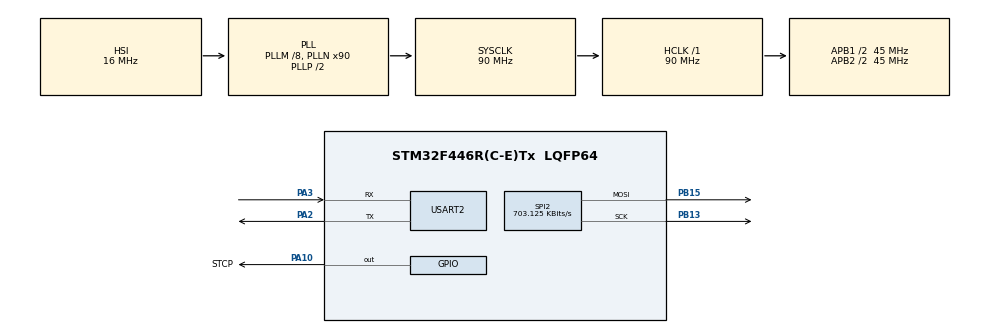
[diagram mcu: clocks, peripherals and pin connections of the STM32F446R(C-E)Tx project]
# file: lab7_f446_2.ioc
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Mcu.Family=STM32F4
Mcu.Name=STM32F446R(C-E)Tx
Mcu.Package=LQFP64
NVIC.PriorityGroup=NVIC_PRIORITYGROUP_4
NVIC.TIM3_IRQn=true\:0\:0\:false\:false\:true\:true\:true\:true
NVIC.USART2_IRQn=true\:0\:0\:false\:false\:true\:true\:true\:true
PA10.GPIO_Label=STCP
PA10.Signal=GPIO_Output
PA13.Mode=Serial_Wire
PA13.Signal=SYS_JTMS-SWDIO
PA14.Mode=Serial_Wire
PA14.Signal=SYS_JTCK-SWCLK
PA2.Mode=Asynchronous
PA2.Signal=USART2_TX
PA3.Mode=Asynchronous
PA3.Signal=USART2_RX
PB13.Mode=TX_Only_Simplex_Unidirect_Master
PB13.Signal=SPI2_SCK
PB15.Mode=TX_Only_Simplex_Unidirect_Master
PB15.Signal=SPI2_MOSI
PC14-OSC32_IN.Mode=LSE-External-Oscillator
PC14-OSC32_IN.Signal=RCC_OSC32_IN
PC15-OSC32_OUT.Mode=LSE-External-Oscillator
PC15-OSC32_OUT.Signal=RCC_OSC32_OUT
PH0-OSC_IN.Mode=HSE-External-Oscillator
PH0-OSC_IN.Signal=RCC_OSC_IN
PH1-OSC_OUT.Mode=HSE-External-Oscillator
PH1-OSC_OUT.Signal=RCC_OSC_OUT
ProjectManager.HeapSize=0x200
ProjectManager.StackSize=0x400
ProjectManager.TargetToolchain=STM32CubeIDE
RCC.AHBFreq_Value=90000000
RCC.APB1CLKDivider=RCC_HCLK_DIV2
RCC.APB1Freq_Value=45000000
RCC.APB1TimFreq_Value=90000000
RCC.APB2CLKDivider=RCC_HCLK_DIV2
RCC.APB2Freq_Value=45000000
RCC.APB2TimFreq_Value=90000000
RCC.CortexFreq_Value=90000000
RCC.HCLKFreq_Value=90000000
RCC.PLLM=8
RCC.PLLN=90
RCC.SYSCLKFreq_VALUE=90000000
RCC.SYSCLKSource=RCC_SYSCLKSOURCE_PLLCLK
RCC.USBFreq_Value=90000000
RCC.VCOOutputFreq_Value=180000000
SPI2.BaudRatePrescaler=SPI_BAUDRATEPRESCALER_64
SPI2.CalculateBaudRate=703.125 KBits/s
SPI2.DataSize=SPI_DATASIZE_8BIT
SPI2.Direction=SPI_DIRECTION_2LINES
SPI2.FirstBit=SPI_FIRSTBIT_LSB
SPI2.Mode=SPI_MODE_MASTER
SPI2.VirtualType=VM_MASTER
TIM3.Period=100-1
TIM3.Prescaler=90-1
USART2.VirtualMode=VM_ASYNC
VP_TIM3_VS_ClockSourceINT.Mode=Internal
board=custom

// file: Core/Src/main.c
/* USER CODE BEGIN Header */
/**
  ******************************************************************************
  * @file           : main.c
  * @brief          : Main program body
  ******************************************************************************
  * @attention
  *
  * Copyright (c) 2024 STMicroelectronics.
  * All rights reserved.
  *
  * This software is licensed under terms that can be found in the LICENSE file
  * in the root directory of this software component.
  * If no LICENSE file comes with this software, it is provided AS-IS.
  *
  ******************************************************************************
  */
/* USER CODE END Header */
#include "main.h"

/* USER CODE BEGIN Includes */
#include "stdbool.h"
#include <stdio.h>
#include <math.h>
#include <string.h>
/* USER CODE END Includes */

/* USER CODE BEGIN PD */
#define BUFF_SIZE 100
/* USER CODE END PD */

 SPI_HandleTypeDef hspi2;

TIM_HandleTypeDef htim3;

UART_HandleTypeDef huart2;

void SystemClock_Config(void);
static void MX_GPIO_Init(void);
static void MX_SPI2_Init(void);
static void MX_TIM3_Init(void);
static void MX_USART2_UART_Init(void);
/* USER CODE BEGIN PFP */
uint8_t numbers[8] = {0};
uint8_t tmp_rx_data;
uint32_t buffer_counter = 0;
uint8_t buffer[BUFF_SIZE] = {0};
char uart_buf[50];
int uart_buf_len;
/* USER CODE END PFP */

/* USER CODE BEGIN 0 */
uint8_t get_digit(uint8_t digit, bool dp) {
  uint8_t data;
  switch (digit) {
    case 0:
      data = 0b1111110;
      break;
    case 1:
      data = 0b0110000;
      break;
    case 2:
      data = 0b1101101;
      break;
    case 3:
      data = 0b1111001;
      break;
    case 4:
      data = 0b0110011;
      break;
    case 5:
      data = 0b1011011;
      break;
    case 6:
      data = 0b0011111;
      break;
    case 7:
      data = 0b1110000;
      break;
    case 8:
      data = 0b1111111;
      break;
    case 9:
      data = 0b1110011;
      break;
    default:
      data = 0b1010101;
      break;
  }
  data = (data << 1) | dp;
  return data;
}

uint8_t turn_on_nth_led(uint8_t n) {
  return ~(1 << n);
}

void change_number(uint32_t num)
{
  for (int i = 7; i>=0; i--) {
      numbers[i] = num % 10;
      num = num / 10;
  }
}

void HAL_TIM_PeriodElapsedCallback(TIM_HandleTypeDef* htim)
{
  static uint8_t n = 0;
  uint8_t data8[2];
  if (htim == &htim3) {
      data8[0] = get_digit(numbers[n], 0);
      data8[1] = turn_on_nth_led(7-n);
      HAL_GPIO_WritePin(STCP_GPIO_Port, STCP_Pin, GPIO_PIN_RESET);
      HAL_SPI_Transmit(&hspi2, &data8[0], 1, HAL_MAX_DELAY);
      HAL_SPI_Transmit(&hspi2, &data8[1], 1, HAL_MAX_DELAY);
      HAL_GPIO_WritePin(STCP_GPIO_Port, STCP_Pin, GPIO_PIN_SET);

      n++;
      if (n > 7)
      {
	  n = 0;
      }
  }
}

// Callback: UART Read 1 byte new
void HAL_UART_RxCpltCallback(UART_HandleTypeDef *huart)
{
	if (huart->Instance == huart2.Instance)
	{
	    //	Read to Buffer
	  if (buffer_counter >= BUFF_SIZE -1) buffer_counter = 0; // Reset buffer counter if size of string too big
	  buffer[buffer_counter++] = tmp_rx_data;

	  // Check if charater is newline
	  if (tmp_rx_data == '\n')
	  {
	    process_buffer();
	    buffer_counter = 0;
	    memset(&buffer, 0, BUFF_SIZE);
	  }

//	  Read the next characters
	  HAL_UART_Receive_IT(&huart2, &tmp_rx_data, 1);

	}

}

// Utility function: Process buffer
int process_buffer()
{
  if (strstr((char*)&buffer, "PING") != NULL)
  {
    uart_buf_len = sprintf(uart_buf, "PING OK\r\n");
    HAL_UART_Transmit(&huart2, (uint8_t *)uart_buf, uart_buf_len, 100);
    return 1;
  }
  else // Commands with argument
  {
    char tmp_str[BUFF_SIZE] = {0}; //
    // Copy to tmp string
    strcpy(tmp_str, (char*)buffer);
    char *cmd = strtok(tmp_str, " ");
    char *arg = strtok(NULL, " ");

    if (strstr(cmd, "NUM") != NULL)
    {
      if (strlen(arg) >= 1)
      {
	uint32_t num = atoi(arg);
	if (1)
	{
	  // Print to terminal
	  uart_buf_len = sprintf(uart_buf, "Changing number to %d\r\n", num);
	  HAL_UART_Transmit(&huart2, (uint8_t *)uart_buf, uart_buf_len, 100);

	  // Execute method

	  change_number(num);

	  return 1;
	}
      }
    }
  }
  return 0;
}

/* USER CODE END 0 */

int main(void)
{

  /* MCU Configuration--------------------------------------------------------*/

  /* Reset of all peripherals, Initializes the Flash interface and the Systick. */
  HAL_Init();

  /* Configure the system clock */
  SystemClock_Config();

  /* Initialize all configured peripherals */
  MX_GPIO_Init();
  MX_SPI2_Init();
  MX_TIM3_Init();
  MX_USART2_UART_Init();
  /* USER CODE BEGIN 2 */
  HAL_TIM_Base_Start_IT(&htim3);
  // Start UART Reading
  HAL_UART_Receive_IT(&huart2, &tmp_rx_data, 1);

  uint8_t data8[2] = {255, 0};
  uint16_t data16 = 100;

  data8[0] = get_digit(2, 1);
  data8[1] = turn_on_nth_led(1);

  /* USER CODE END 2 */

  /* Infinite loop */
  /* USER CODE BEGIN WHILE */
  while (1)
  {
//      HAL_GPIO_WritePin(STCP_GPIO_Port, STCP_Pin, GPIO_PIN_RESET);
//      HAL_SPI_Transmit(&hspi2, &data8[0], 1, HAL_MAX_DELAY);
//      HAL_SPI_Transmit(&hspi2, &data8[1], 1, HAL_MAX_DELAY);
//      HAL_GPIO_WritePin(STCP_GPIO_Port, STCP_Pin, GPIO_PIN_SET);
    /* USER CODE END WHILE */

  }
}

void SystemClock_Config(void)
{
  RCC_OscInitTypeDef RCC_OscInitStruct = {0};
  RCC_ClkInitTypeDef RCC_ClkInitStruct = {0};

  /** Configure the main internal regulator output voltage
  */
  __HAL_RCC_PWR_CLK_ENABLE();
  __HAL_PWR_VOLTAGESCALING_CONFIG(PWR_REGULATOR_VOLTAGE_SCALE3);

  /** Initializes the RCC Oscillators according to the specified parameters
  * in the RCC_OscInitTypeDef structure.
  */
  RCC_OscInitStruct.OscillatorType = RCC_OSCILLATORTYPE_HSI;
  RCC_OscInitStruct.HSIState = RCC_HSI_ON;
  RCC_OscInitStruct.HSICalibrationValue = RCC_HSICALIBRATION_DEFAULT;
  RCC_OscInitStruct.PLL.PLLState = RCC_PLL_ON;
  RCC_OscInitStruct.PLL.PLLSource = RCC_PLLSOURCE_HSI;
  RCC_OscInitStruct.PLL.PLLM = 8;
  RCC_OscInitStruct.PLL.PLLN = 90;
  RCC_OscInitStruct.PLL.PLLP = RCC_PLLP_DIV2;
  RCC_OscInitStruct.PLL.PLLQ = 2;
  RCC_OscInitStruct.PLL.PLLR = 2;
  if (HAL_RCC_OscConfig(&RCC_OscInitStruct) != HAL_OK)
  {
    Error_Handler();
  }

  /** Initializes the CPU, AHB and APB buses clocks
  */
  RCC_ClkInitStruct.ClockType = RCC_CLOCKTYPE_HCLK|RCC_CLOCKTYPE_SYSCLK
                              |RCC_CLOCKTYPE_PCLK1|RCC_CLOCKTYPE_PCLK2;
  RCC_ClkInitStruct.SYSCLKSource = RCC_SYSCLKSOURCE_PLLCLK;
  RCC_ClkInitStruct.AHBCLKDivider = RCC_SYSCLK_DIV1;
  RCC_ClkInitStruct.APB1CLKDivider = RCC_HCLK_DIV2;
  RCC_ClkInitStruct.APB2CLKDivider = RCC_HCLK_DIV2;

  if (HAL_RCC_ClockConfig(&RCC_ClkInitStruct, FLASH_LATENCY_2) != HAL_OK)
  {
    Error_Handler();
  }
}

static void MX_SPI2_Init(void)
{

  /* SPI2 parameter configuration*/
  hspi2.Instance = SPI2;
  hspi2.Init.Mode = SPI_MODE_MASTER;
  hspi2.Init.Direction = SPI_DIRECTION_2LINES;
  hspi2.Init.DataSize = SPI_DATASIZE_8BIT;
  hspi2.Init.CLKPolarity = SPI_POLARITY_LOW;
  hspi2.Init.CLKPhase = SPI_PHASE_1EDGE;
  hspi2.Init.NSS = SPI_NSS_SOFT;
  hspi2.Init.BaudRatePrescaler = SPI_BAUDRATEPRESCALER_64;
  hspi2.Init.FirstBit = SPI_FIRSTBIT_LSB;
  hspi2.Init.TIMode = SPI_TIMODE_DISABLE;
  hspi2.Init.CRCCalculation = SPI_CRCCALCULATION_DISABLE;
  hspi2.Init.CRCPolynomial = 10;
  if (HAL_SPI_Init(&hspi2) != HAL_OK)
  {
    Error_Handler();
  }

}

static void MX_TIM3_Init(void)
{

  TIM_ClockConfigTypeDef sClockSourceConfig = {0};
  TIM_MasterConfigTypeDef sMasterConfig = {0};

  htim3.Instance = TIM3;
  htim3.Init.Prescaler = 90-1;
  htim3.Init.CounterMode = TIM_COUNTERMODE_UP;
  htim3.Init.Period = 100-1;
  htim3.Init.ClockDivision = TIM_CLOCKDIVISION_DIV1;
  htim3.Init.AutoReloadPreload = TIM_AUTORELOAD_PRELOAD_DISABLE;
  if (HAL_TIM_Base_Init(&htim3) != HAL_OK)
  {
    Error_Handler();
  }
  sClockSourceConfig.ClockSource = TIM_CLOCKSOURCE_INTERNAL;
  if (HAL_TIM_ConfigClockSource(&htim3, &sClockSourceConfig) != HAL_OK)
  {
    Error_Handler();
  }
  sMasterConfig.MasterOutputTrigger = TIM_TRGO_RESET;
  sMasterConfig.MasterSlaveMode = TIM_MASTERSLAVEMODE_DISABLE;
  if (HAL_TIMEx_MasterConfigSynchronization(&htim3, &sMasterConfig) != HAL_OK)
  {
    Error_Handler();
  }

}

static void MX_USART2_UART_Init(void)
{

  huart2.Instance = USART2;
  huart2.Init.BaudRate = 115200;
  huart2.Init.WordLength = UART_WORDLENGTH_8B;
  huart2.Init.StopBits = UART_STOPBITS_1;
  huart2.Init.Parity = UART_PARITY_NONE;
  huart2.Init.Mode = UART_MODE_TX_RX;
  huart2.Init.HwFlowCtl = UART_HWCONTROL_NONE;
  huart2.Init.OverSampling = UART_OVERSAMPLING_16;
  if (HAL_UART_Init(&huart2) != HAL_OK)
  {
    Error_Handler();
  }

}

static void MX_GPIO_Init(void)
{
  GPIO_InitTypeDef GPIO_InitStruct = {0};

  /* GPIO Ports Clock Enable */
  __HAL_RCC_GPIOC_CLK_ENABLE();
  __HAL_RCC_GPIOH_CLK_ENABLE();
  __HAL_RCC_GPIOA_CLK_ENABLE();
  __HAL_RCC_GPIOB_CLK_ENABLE();

  /*Configure GPIO pin Output Level */
  HAL_GPIO_WritePin(STCP_GPIO_Port, STCP_Pin, GPIO_PIN_RESET);

  /*Configure GPIO pin : STCP_Pin */
  GPIO_InitStruct.Pin = STCP_Pin;
  GPIO_InitStruct.Mode = GPIO_MODE_OUTPUT_PP;
  GPIO_InitStruct.Pull = GPIO_NOPULL;
  GPIO_InitStruct.Speed = GPIO_SPEED_FREQ_LOW;
  HAL_GPIO_Init(STCP_GPIO_Port, &GPIO_InitStruct);

}

void Error_Handler(void)
{
  __disable_irq();
  while (1)
  {
  }
}
